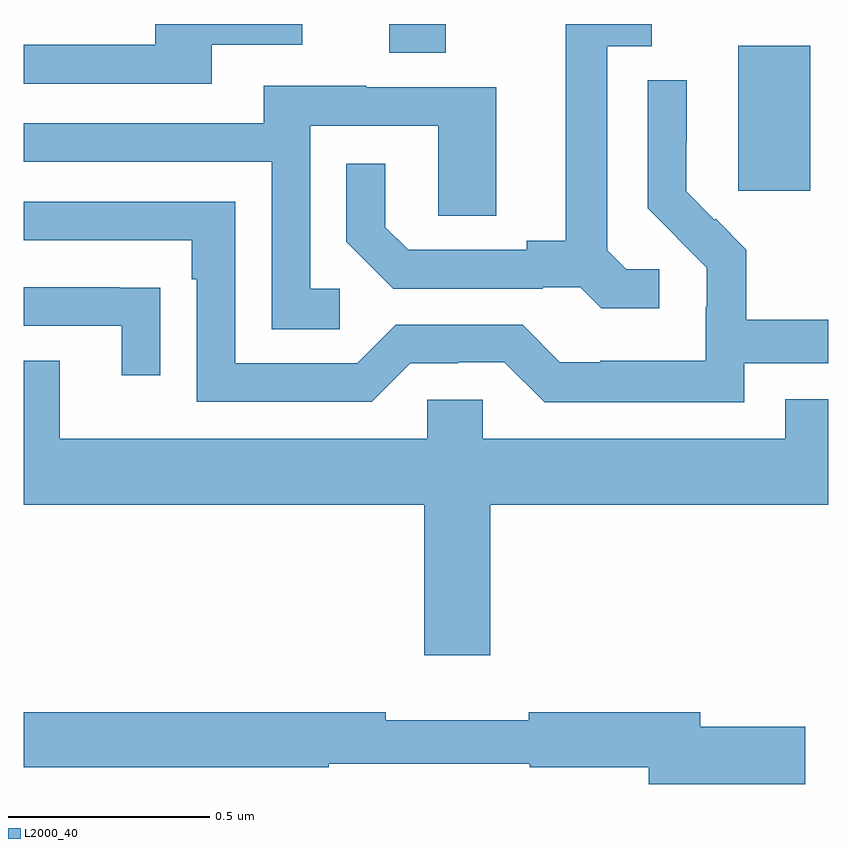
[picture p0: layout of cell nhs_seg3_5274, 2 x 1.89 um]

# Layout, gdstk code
import gdstk
lib = gdstk.Library(unit=1e-6, precision=1e-09)
def R(c, l, rs):  # rectangles x0, y0, x1, y1
    for r in rs: c.add(gdstk.rectangle(r[:2], r[2:], *l))
def P(c, l, *ps):  # polygons
    for p in ps: c.add(gdstk.Polygon(p, *l))
L2000_40 = (2000, 40)

nhs_seg3_5274 = lib.new_cell('nhs_seg3_5274')
R(nhs_seg3_5274, L2000_40, [(177.776,746.985,177.955,747.346), (176.909,747.328,177.049,747.4)])
P(nhs_seg3_5274, L2000_40, [(177.58,746.79),(177.498,746.79),(177.451,746.837),(177.451,747.345),(177.562,747.345),(177.562,747.4),(177.347,747.4),(177.347,746.861),(177.251,746.861),(177.251,746.838),(176.956,746.838),(176.899,746.895),(176.899,747.052),(176.802,747.052),(176.802,746.858),(176.918,746.742),(177.29,746.742),(177.29,746.745),(177.384,746.745),(177.436,746.693),(177.58,746.693)],
  [(176.467,747.348),(176.692,747.348),(176.692,747.4),(176.327,747.4),(176.327,747.348),(176,747.348),(176,747.252),(176.467,747.252)],
  [(177.792,746.556),(178,746.556),(178,746.665),(177.797,746.665),(177.797,746.839),(177.72,746.916),(177.717,746.913),(177.647,746.984),(177.647,747.106),(177.648,747.106),(177.648,747.26),(177.552,747.26),(177.552,746.942),(177.625,746.869),(177.624,746.868),(177.698,746.794),(177.698,746.697),(177.696,746.697),(177.696,746.563),(177.433,746.563),(177.433,746.559),(177.333,746.559),(177.24,746.652),(176.925,746.652),(176.829,746.556),(176.526,746.556),(176.526,746.958),(176,746.958),(176,746.862),(176.417,746.862),(176.417,746.765),(176.43,746.765),(176.43,746.46),(176.865,746.46),(176.961,746.556),(177.08,746.556),(177.08,746.559),(177.195,746.559),(177.295,746.459),(177.792,746.459)],
  [(176.785,746.742),(176.712,746.742),(176.712,747.147),(177.03,747.147),(177.03,746.923),(177.175,746.923),(177.175,747.243),(176.851,747.243),(176.851,747.247),(176.597,747.247),(176.597,747.153),(176,747.153),(176,747.057),(176.616,747.057),(176.616,746.641),(176.785,746.641)],
  [(176.339,746.744),(176.237,746.744),(176.237,746.745),(176,746.745),(176,746.649),(176.243,746.649),(176.243,746.526),(176.339,746.526)],
  [(177.16,746.204),(178,746.204),(178,746.467),(177.893,746.467),(177.893,746.368),(177.141,746.368),(177.141,746.466),(177.003,746.466),(177.003,746.368),(176.089,746.368),(176.089,746.563),(176,746.563),(176,746.204),(176.996,746.204),(176.996,745.83),(177.16,745.83)],
  [(177.943,745.652),(177.682,745.652),(177.682,745.688),(177.256,745.688),(177.256,745.669),(176.9,745.669),(176.9,745.688),(176,745.688),(176,745.552),(176.758,745.552),(176.758,745.56),(177.258,745.56),(177.258,745.552),(177.554,745.552),(177.554,745.51),(177.943,745.51)])

lib.write_gds('nhs_seg3_5274.gds')
